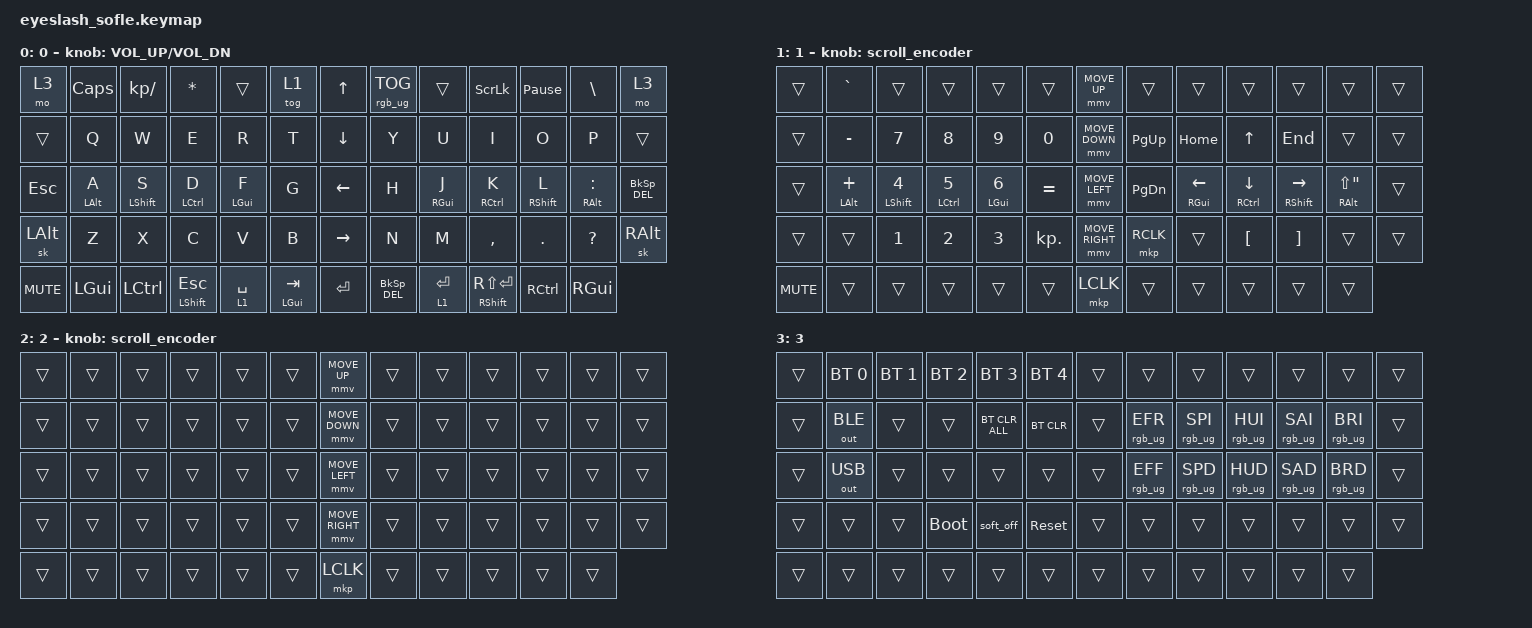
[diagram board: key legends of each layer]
#define ZMK_POINTING_DEFAULT_MOVE_VAL 1200  // 600
#define ZMK_POINTING_DEFAULT_SCRL_VAL 35    // 10

#include <input/processors.dtsi>
#include <zephyr/dt-bindings/input/input-event-codes.h>
#include <behaviors.dtsi>
#include <dt-bindings/zmk/bt.h>
#include <dt-bindings/zmk/keys.h>
#include <dt-bindings/zmk/outputs.h>
#include <dt-bindings/zmk/pointing.h>
#include <dt-bindings/zmk/rgb.h>

/ {
    zip_scroll_scaler: zip_scroll_scaler {
        compatible = "zmk,input-processor-scaler";
        #input-processor-cells = <2>;
        type = <INPUT_EV_REL>;
        codes = <INPUT_REL_WHEEL INPUT_REL_HWHEEL>;
        track-remainders;
    };
};

&mmv_input_listener { input-processors = <&zip_xy_scaler 2 1>; };

&msc_input_listener { input-processors = <&zip_scroll_scaler 2 1>; };

&msc {
    acceleration-exponent = <0>;      // 0
    time-to-max-speed-ms = <0>;       // 300
    delay-ms = <0>;                   // 0
};

&mmv {
    time-to-max-speed-ms = <400>;
    acceleration-exponent = <1>;
};

/ {
    scroll_encoder: scroll_encoder {
        compatible = "zmk,behavior-sensor-rotate";
        #sensor-binding-cells = <0>;
        bindings = <&msc SCRL_DOWN>, <&msc SCRL_UP>;

        tap-ms = <30>;
    };

    Home_Row: Home_Row {
        compatible = "zmk,behavior-hold-tap";
        label = "HOME_ROW";
        bindings = <&kp>, <&kp>;

        #binding-cells = <2>;
        require-prior-idle-ms = <150>;
        flavor = "tap-preferred";
        tapping-term-ms = <250>;
        quick-tap-ms = <120>;
    };

    BkSp_DEL: BkSp_DEL {
        compatible = "zmk,behavior-mod-morph";
        label = "BkSp/DEL";
        bindings = <&kp BACKSPACE>, <&kp DELETE>;

        #binding-cells = <0>;
        mods = <(MOD_RSFT|MOD_LSFT)>;
        keep-mods = <(MOD_LSFT|MOD_RSFT)>;
    };

    L_T: L_T {
        compatible = "zmk,behavior-hold-tap";
        label = "L_T";
        bindings = <&mo>, <&kp>;

        #binding-cells = <2>;
        quick-tap-ms = <100>;
        tapping-term-ms = <200>;
    };

    M_T: M_T {
        compatible = "zmk,behavior-hold-tap";
        label = "M_T";
        bindings = <&kp>, <&kp>;

        #binding-cells = <2>;
        quick-tap-ms = <100>;
        tapping-term-ms = <200>;
    };

    hml: hml {
        compatible = "zmk,behavior-hold-tap";
        label = "HML";
        bindings = <&kp>, <&kp>;

        #binding-cells = <2>;
        require-prior-idle-ms = <150>;
        flavor = "balanced";
        tapping-term-ms = <280>;
        quick-tap-ms = <175>;
        hold-trigger-on-release;
        hold-trigger-key-positions = <0 1 2 3 4 5 6 7 8 9 10 11 12 13 19 20 21 22 23 24 25 26 32 33 34 35 36 37 38 39 45 46 47 48 49 50 51 52 54 58 62 53 54 55 56 57 59 60 61 62 63>;
    };

    hmr: hmr {
        compatible = "zmk,behavior-hold-tap";
        label = "HMR";
        bindings = <&kp>, <&kp>;

        #binding-cells = <2>;
        require-prior-idle-ms = <150>;
        flavor = "balanced";
        tapping-term-ms = <280>;
        quick-tap-ms = <175>;
        hold-trigger-on-release;
        hold-trigger-key-positions = <0 1 2 3 4 5 6 7 8 9 10 11 12 13 19 25 26 32 38 39 45 51 52 54 58 62 53 54 55 56 57 59 60 61 62 63 0 1 2 3 4 5 6 13 14 15 16 17 18 19 26 27 28 29 30 31 32 39 40 41 42 43 44 52 58>;
    };

    behaviors {
    };

    keymap {
        compatible = "zmk,keymap";

        layer0 {
            bindings = <
&mo 3         &kp CLCK         &kp KP_SLASH       &kp STAR               &trans           &tog 1              &kp UP_ARROW     &rgb_ug RGB_TOG  &trans            &kp SCROLLLOCK           &kp PAUSE_BREAK     &kp BACKSLASH         &mo 3
&trans        &kp Q            &kp W              &kp E                  &kp R            &kp T               &kp DOWN_ARROW   &kp Y            &kp U             &kp I                    &kp O               &kp P                 &trans
&kp ESCAPE    &hml LEFT_ALT A  &hml LEFT_SHIFT S  &hml LEFT_CONTROL D    &hml LEFT_GUI F  &kp G               &kp LEFT_ARROW   &kp H            &hmr RIGHT_GUI J  &hmr RIGHT_CONTROL K     &hmr RIGHT_SHIFT L  &hmr RIGHT_ALT COLON  &BkSp_DEL
&sk LEFT_ALT  &kp Z            &kp X              &kp C                  &kp V            &kp B               &kp RIGHT_ARROW  &kp N            &kp M             &kp COMMA                &kp DOT             &kp QUESTION          &sk RIGHT_ALT
&kp C_MUTE    &kp LEFT_GUI     &kp LEFT_CONTROL   &mt LEFT_SHIFT ESCAPE  &L_T 1 SPACE     &mt LEFT_GUI TAB    &kp ENTER        &BkSp_DEL        &L_T 1 RET        &mt RIGHT_SHIFT RS(RET)  &kp RIGHT_CONTROL   &kp RIGHT_GUI
            >;

            sensor-bindings = <&inc_dec_kp C_VOLUME_UP C_VOL_DN>;
            display-name = "0";
        };

        layer_1 {
            bindings = <
&trans      &kp GRAVE           &trans                    &trans                      &trans                  &trans          &mmv MOVE_UP     &trans     &trans                     &trans                         &trans                        &trans                            &trans
&trans      &kp MINUS           &kp NUMBER_7              &kp NUMBER_8                &kp NUMBER_9            &kp NUMBER_0    &mmv MOVE_DOWN   &kp PG_UP  &kp HOME                   &kp UP                         &kp END                       &trans                            &trans
&trans      &hml LEFT_ALT PLUS  &hml LEFT_SHIFT NUMBER_4  &hml LEFT_CONTROL NUMBER_5  &hml LEFT_GUI NUMBER_6  &kp EQUAL       &mmv MOVE_LEFT   &kp PG_DN  &hmr RIGHT_GUI LEFT_ARROW  &hmr RIGHT_CONTROL DOWN_ARROW  &hmr RIGHT_SHIFT RIGHT_ARROW  &hmr RIGHT_ALT LS(DOUBLE_QUOTES)  &trans
&trans      &trans              &kp NUMBER_1              &kp NUMBER_2                &kp NUMBER_3            &kp KP_DOT      &mmv MOVE_RIGHT  &mkp RCLK  &trans                     &kp LEFT_BRACKET               &kp RIGHT_BRACKET             &trans                            &trans
&kp C_MUTE  &trans              &trans                    &trans                      &trans                  &trans          &mkp LCLK        &trans     &trans                     &trans                         &trans                        &trans
            >;

            sensor-bindings = <&scroll_encoder>;
            display-name = "1";
        };

        layer_2 {
            bindings = <
&trans  &trans  &trans  &trans  &trans  &trans    &mmv MOVE_UP     &trans  &trans  &trans  &trans  &trans  &trans
&trans  &trans  &trans  &trans  &trans  &trans    &mmv MOVE_DOWN   &trans  &trans  &trans  &trans  &trans  &trans
&trans  &trans  &trans  &trans  &trans  &trans    &mmv MOVE_LEFT   &trans  &trans  &trans  &trans  &trans  &trans
&trans  &trans  &trans  &trans  &trans  &trans    &mmv MOVE_RIGHT  &trans  &trans  &trans  &trans  &trans  &trans
&trans  &trans  &trans  &trans  &trans  &trans    &mkp LCLK        &trans  &trans  &trans  &trans  &trans
            >;

            sensor-bindings = <&scroll_encoder>;
            display-name = "2";
        };

        layer_3 {
            bindings = <
&trans  &bt BT_SEL 0  &bt BT_SEL 1  &bt BT_SEL 2  &bt BT_SEL 3    &bt BT_SEL 4    &trans  &trans           &trans           &trans           &trans           &trans           &trans
&trans  &out OUT_BLE  &trans        &trans        &bt BT_CLR_ALL  &bt BT_CLR      &trans  &rgb_ug RGB_EFR  &rgb_ug RGB_SPI  &rgb_ug RGB_HUI  &rgb_ug RGB_SAI  &rgb_ug RGB_BRI  &trans
&trans  &out OUT_USB  &trans        &trans        &trans          &trans          &trans  &rgb_ug RGB_EFF  &rgb_ug RGB_SPD  &rgb_ug RGB_HUD  &rgb_ug RGB_SAD  &rgb_ug RGB_BRD  &trans
&trans  &trans        &trans        &bootloader   &soft_off       &sys_reset      &trans  &trans           &trans           &trans           &trans           &trans           &trans
&trans  &trans        &trans        &trans        &trans          &trans          &trans  &trans           &trans           &trans           &trans           &trans
            >;

            display-name = "3";
        };
    };
};
